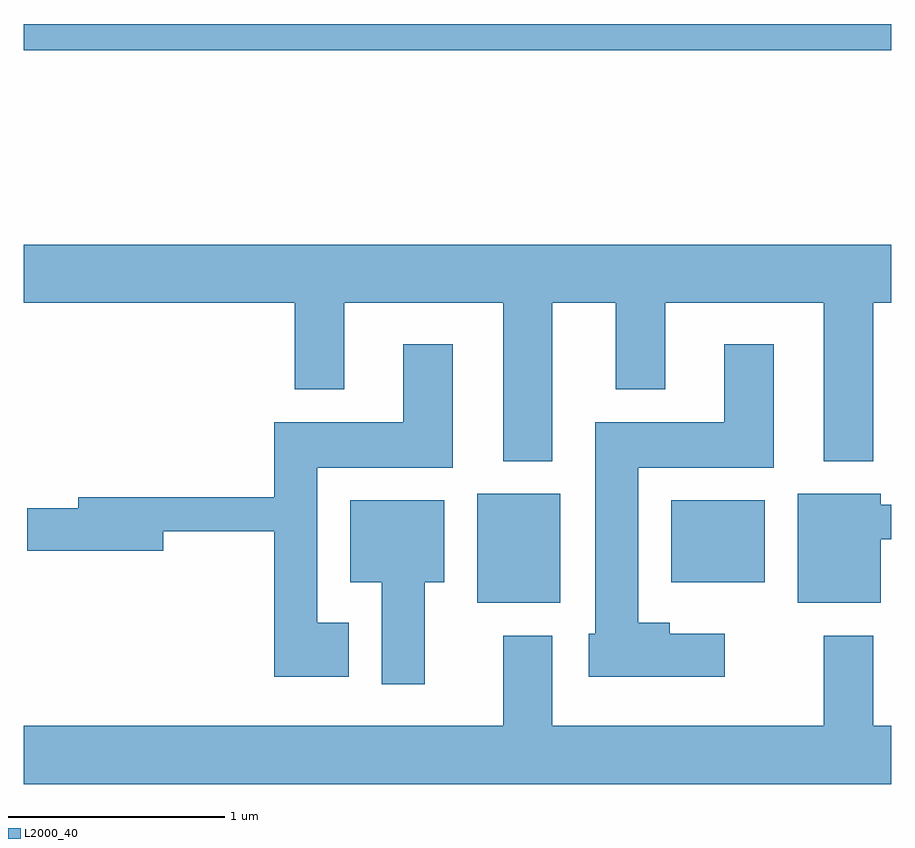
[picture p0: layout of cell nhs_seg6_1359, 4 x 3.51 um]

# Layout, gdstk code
import gdstk
lib = gdstk.Library(unit=1e-6, precision=1e-09)
def R(c, l, rs):  # rectangles x0, y0, x1, y1
    for r in rs: c.add(gdstk.rectangle(r[:2], r[2:], *l))
def P(c, l, *ps):  # polygons
    for p in ps: c.add(gdstk.Polygon(p, *l))
L2000_40 = (2000, 40)

nhs_seg6_1359 = lib.new_cell('nhs_seg6_1359')
R(nhs_seg6_1359, L2000_40, [(227.701,1597.491,228.084,1597.994), (228.596,1597.586,229.029,1597.964), (225.611,1600.041,229.611,1600.162)])
P(nhs_seg6_1359, L2000_40, [(228.049,1598.876),(228.341,1598.876),(228.341,1598.476),(228.569,1598.476),(228.569,1598.876),(229.301,1598.876),(229.301,1598.146),(229.529,1598.146),(229.529,1598.876),(229.611,1598.876),(229.611,1599.144),(225.611,1599.144),(225.611,1598.876),(226.861,1598.876),(226.861,1598.476),(227.089,1598.476),(227.089,1598.876),(227.821,1598.876),(227.821,1598.146),(228.049,1598.146)],
  [(228.844,1597.349),(228.589,1597.349),(228.589,1597.399),(228.444,1597.399),(228.444,1598.116),(229.069,1598.116),(229.069,1598.684),(228.841,1598.684),(228.841,1598.324),(228.246,1598.324),(228.246,1597.349),(228.216,1597.349),(228.216,1597.151),(228.844,1597.151)],
  [(227.109,1597.399),(226.964,1597.399),(226.964,1598.116),(227.589,1598.116),(227.589,1598.684),(227.361,1598.684),(227.361,1598.324),(226.766,1598.324),(226.766,1597.979),(225.861,1597.979),(225.861,1597.929),(225.626,1597.929),(225.626,1597.731),(226.254,1597.731),(226.254,1597.821),(226.766,1597.821),(226.766,1597.151),(227.109,1597.151)],
  [(229.564,1597.786),(229.611,1597.786),(229.611,1597.944),(229.564,1597.944),(229.564,1597.994),(229.181,1597.994),(229.181,1597.491),(229.564,1597.491)],
  [(227.459,1597.586),(227.549,1597.586),(227.549,1597.964),(227.116,1597.964),(227.116,1597.586),(227.261,1597.586),(227.261,1597.116),(227.459,1597.116)],
  [(229.611,1596.924),(229.529,1596.924),(229.529,1597.339),(229.301,1597.339),(229.301,1596.924),(228.049,1596.924),(228.049,1597.339),(227.821,1597.339),(227.821,1596.924),(225.611,1596.924),(225.611,1596.656),(229.611,1596.656)])

lib.write_gds('nhs_seg6_1359.gds')
